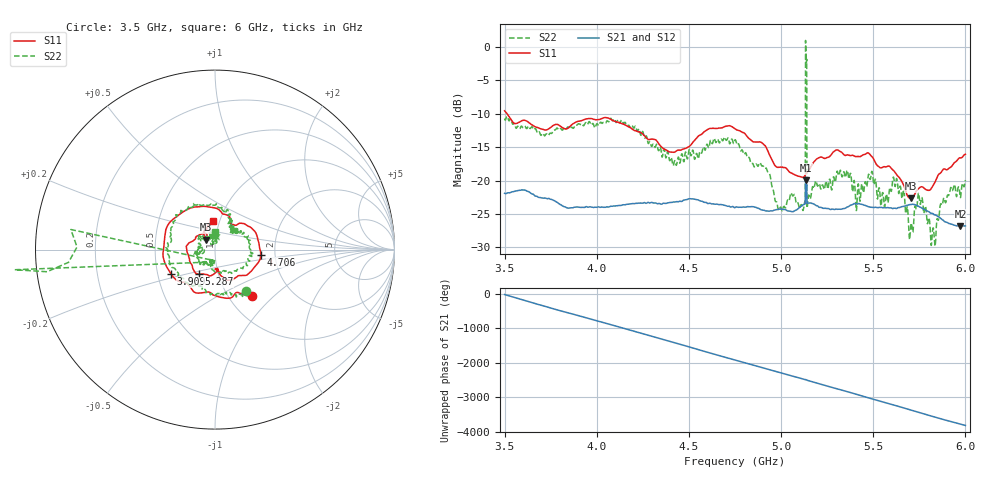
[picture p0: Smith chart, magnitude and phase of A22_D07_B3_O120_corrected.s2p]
! Created with skrf 1.9.0 (http://scikit-rf.org).
# Hz S RI R 50.0
!freq ReS11 ImS11 ReS21 ImS21 ReS12 ImS12 ReS22 ImS22
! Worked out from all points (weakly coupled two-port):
!   1601 points, 3.5 GHz to 6 GHz, reference 50 ohm
!   highest |S21| = -19.95 dB at 5.133 GHz (marker M1); lowest = -26.8 dB at 5.973 GHz (marker M2)
!   lowest |S11| = -22.7 dB at 5.705 GHz (marker M3), VSWR 1.16, Z = 45.1 + j4.99 ohm
!   |S11| at or under -10 dB: 3.514 GHz to end of sweep
!   |S22| runs from -29.8 to 1.0 dB; largest |S21 - S12| = 0.00099
!   S11 on the Smith chart (normalised r, x): 3.5 GHz: 1.28, -0.75; 3.909 GHz: 0.59, -0.17; 4.706 GHz: 1.68, -0.10; 5.287 GHz: 0.80, -0.23; 6 GHz: 0.94, +0.30
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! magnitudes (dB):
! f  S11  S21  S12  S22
! 3.5 GHz  -9.6  -21.9  -21.9  -10.7
! 3.909 GHz  -11.1  -24.0  -24.0  -11.6
! 3.917 GHz  -11.0  -24.0  -24.0  -11.5
! 4.334 GHz  -14.4  -23.4  -23.4  -15.5
! 4.706 GHz  -11.8  -23.8  -23.8  -13.9
! 4.75 GHz  -12.2  -24.1  -24.0  -13.9
! 4.995 GHz  -18.0  -24.3  -24.2  -24.0
! 5.119 GHz  -19.6  -23.6  -23.6  -24.5
! 5.127 GHz  -19.4  -23.6  -23.6  -23.4
! 5.133 GHz  -19.0  -19.9  -19.9  1.0
! 5.145 GHz  -18.6  -23.4  -23.4  -23.1
! 5.153 GHz  -18.3  -23.4  -23.3  -22.3
! 5.167 GHz  -17.6  -23.4  -23.4  -21.3
! 5.287 GHz  -15.6  -24.3  -24.3  -19.6
! 5.584 GHz  -17.8  -24.1  -24.1  -22.4
! 5.656 GHz  -20.2  -23.9  -23.9  -22.7
! 5.705 GHz  -22.7  -23.6  -23.6  -26.6
! 5.755 GHz  -21.0  -24.0  -24.0  -23.6
! 5.827 GHz  -20.7  -25.0  -25.0  -27.2
! 5.873 GHz  -18.6  -25.9  -25.8  -23.7
! 5.973 GHz  -16.6  -26.8  -26.8  -22.6
! 6 GHz  -16.1  -26.8  -26.8  -19.9
